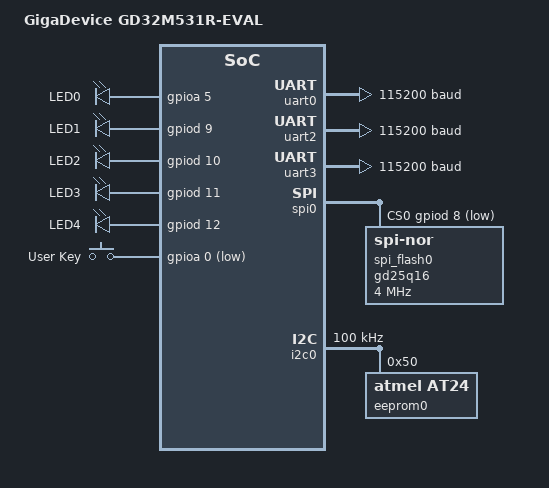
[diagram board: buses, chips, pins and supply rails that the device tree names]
/*
 * Copyright (c) 2026 GigaDevice Semiconductor Inc.
 *
 * SPDX-License-Identifier: Apache-2.0
 */

/dts-v1/;

#include <gd/gd32m53x/gd32m531rc.dtsi>
#include "gd32m531r_eval-pinctrl.dtsi"
#include <zephyr/dt-bindings/dma/gd32_dma.h>

/ {
	model = "GigaDevice GD32M531R-EVAL";
	compatible = "gd,gd32m531r-eval";

	chosen {
		zephyr,flash = &flash0;
		zephyr,sram = &sram0;
		zephyr,console = &uart3;
		zephyr,shell-uart = &uart3;
	};

	leds {
		compatible = "gpio-leds";

		led0: led0 {
			gpios = <&gpioa 5 GPIO_ACTIVE_HIGH>;
			label = "LED0";
		};

		led1: led1 {
			gpios = <&gpiod 9 GPIO_ACTIVE_HIGH>;
			label = "LED1";
		};

		led2: led2 {
			gpios = <&gpiod 10 GPIO_ACTIVE_HIGH>;
			label = "LED2";
		};

		led3: led3 {
			gpios = <&gpiod 11 GPIO_ACTIVE_HIGH>;
			label = "LED3";
		};

		led4: led4 {
			gpios = <&gpiod 12 GPIO_ACTIVE_HIGH>;
			label = "LED4";
		};
	};

	gpio_keys {
		compatible = "gpio-keys";

		user_key: user_key {
			gpios = <&gpioa 0 GPIO_ACTIVE_LOW>;
			label = "User Key";
		};
	};

	aliases {
		led0 = &led0;
		led1 = &led1;
		led2 = &led2;
		led3 = &led3;
		led4 = &led4;
		sw0 = &user_key;
		eeprom-0 = &eeprom0;
	};
};

&gpioa {
	status = "okay";
};

&gpiob {
	status = "okay";
};

&gpiod {
	status = "okay";
};

&gpiof {
	status = "okay";
};

&gpiog {
	status = "okay";
};

&uart0 {
	status = "okay";
	current-speed = <115200>;
	pinctrl-0 = <&uart0_default>;
	pinctrl-names = "default";
	dmas = <&dmamux 0 13 (GD32_DMA_PERIPH_RX | GD32_DMA_PRIORITY_HIGH)>,
	       <&dmamux 1 14 (GD32_DMA_PERIPH_TX | GD32_DMA_PRIORITY_HIGH)>;
	dma-names = "rx", "tx";
};

&uart2 {
	status = "okay";
	current-speed = <115200>;
	pinctrl-0 = <&uart2_default>;
	pinctrl-names = "default";
	dmas = <&dmamux 4 17 (GD32_DMA_PERIPH_RX | GD32_DMA_PRIORITY_HIGH)>,
	       <&dmamux 5 18 (GD32_DMA_PERIPH_TX | GD32_DMA_PRIORITY_HIGH)>;
	dma-names = "rx", "tx";
};

&uart3 {
	status = "okay";
	current-speed = <115200>;
	pinctrl-0 = <&uart3_default>;
	pinctrl-names = "default";
	dmas = <&dmamux 2 19 (GD32_DMA_PERIPH_RX | GD32_DMA_PRIORITY_HIGH)>,
	       <&dmamux 3 20 (GD32_DMA_PERIPH_TX | GD32_DMA_PRIORITY_HIGH)>;
	dma-names = "rx", "tx";
};

&spi0 {
	status = "okay";
	pinctrl-0 = <&spi0_default>;
	pinctrl-names = "default";
	cs-gpios = <&gpiod 8 GPIO_ACTIVE_LOW>;
	dmas = <&dmamux 8 21 (GD32_DMA_PERIPH_RX | GD32_DMA_PRIORITY_MEDIUM)>,
	       <&dmamux 9 22 (GD32_DMA_PERIPH_TX | GD32_DMA_PRIORITY_MEDIUM)>;
	dma-names = "rx", "tx";

	spi_flash0: gd25q16@0 {
		compatible = "jedec,spi-nor";
		size = <0x1000000>;
		reg = <0>;
		spi-max-frequency = <4000000>;
		status = "okay";
		jedec-id = [c8 40 15];
	};
};

&i2c0 {
	status = "okay";
	pinctrl-0 = <&i2c0_default>;
	pinctrl-names = "default";
	clock-frequency = <100000>;
	dmas = <&dmamux 6 11 (GD32_DMA_PERIPH_RX | GD32_DMA_PRIORITY_HIGH)>,
	       <&dmamux 7 12 (GD32_DMA_PERIPH_TX | GD32_DMA_PRIORITY_HIGH)>;
	dma-names = "rx", "tx";

	eeprom0: eeprom@50 {
		compatible = "atmel,at24";
		reg = <0x50>;
		status = "okay";
		size = <256>;
		pagesize = <8>;
		address-width = <8>;
		timeout = <5>;
	};
};

&dma0 {
	status = "okay";
};

&dma1 {
	status = "okay";
};

&dmamux {
	status = "okay";
};
